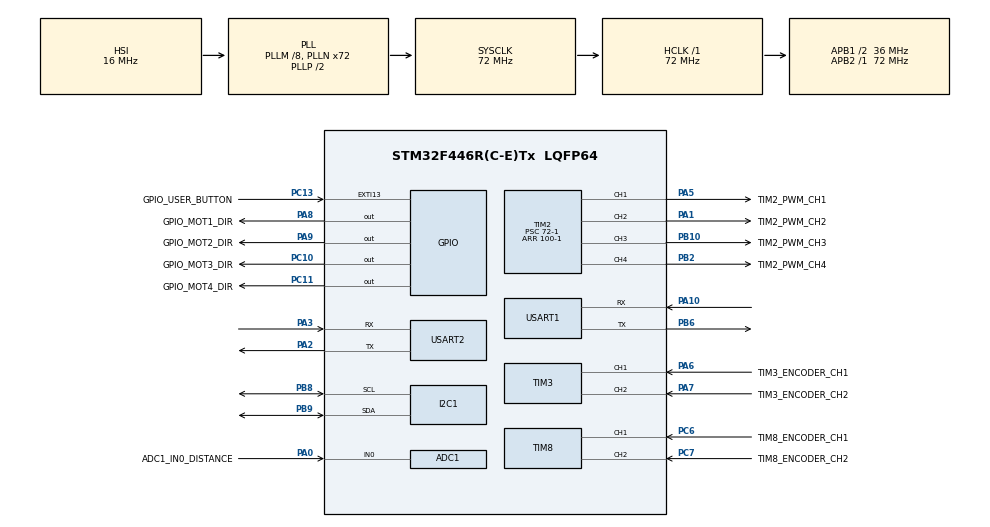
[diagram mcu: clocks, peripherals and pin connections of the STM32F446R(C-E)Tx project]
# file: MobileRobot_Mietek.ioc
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ADC1.Channel-0\#ChannelRegularConversion=ADC_CHANNEL_0
ADC1.NbrOfConversionFlag=1
ADC1.Rank-0\#ChannelRegularConversion=1
ADC1.SamplingTime-0\#ChannelRegularConversion=ADC_SAMPLETIME_3CYCLES
ADC1.master=1
Dma.Request0=USART2_RX
Dma.Request1=USART1_RX
Dma.USART1_RX.1.Direction=DMA_PERIPH_TO_MEMORY
Dma.USART1_RX.1.FIFOMode=DMA_FIFOMODE_DISABLE
Dma.USART1_RX.1.Instance=DMA2_Stream2
Dma.USART1_RX.1.MemDataAlignment=DMA_MDATAALIGN_BYTE
Dma.USART1_RX.1.MemInc=DMA_MINC_ENABLE
Dma.USART1_RX.1.Mode=DMA_NORMAL
Dma.USART1_RX.1.PeriphDataAlignment=DMA_PDATAALIGN_BYTE
Dma.USART1_RX.1.PeriphInc=DMA_PINC_DISABLE
Dma.USART1_RX.1.Priority=DMA_PRIORITY_LOW
Dma.USART2_RX.0.Direction=DMA_PERIPH_TO_MEMORY
Dma.USART2_RX.0.FIFOMode=DMA_FIFOMODE_DISABLE
Dma.USART2_RX.0.Instance=DMA1_Stream5
Dma.USART2_RX.0.MemDataAlignment=DMA_MDATAALIGN_BYTE
Dma.USART2_RX.0.MemInc=DMA_MINC_ENABLE
Dma.USART2_RX.0.Mode=DMA_NORMAL
Dma.USART2_RX.0.PeriphDataAlignment=DMA_PDATAALIGN_BYTE
Dma.USART2_RX.0.PeriphInc=DMA_PINC_DISABLE
Dma.USART2_RX.0.Priority=DMA_PRIORITY_LOW
FREERTOS.Tasks01=defaultTask,0,128,StartDefaultTask,Default,NULL,Dynamic,NULL,NULL
FREERTOS.configUSE_NEWLIB_REENTRANT=1
Mcu.Family=STM32F4
Mcu.Name=STM32F446R(C-E)Tx
Mcu.Package=LQFP64
NVIC.DMA1_Stream5_IRQn=true\:5\:0\:false\:false\:true\:true\:false\:true
NVIC.DMA2_Stream2_IRQn=true\:5\:0\:false\:false\:true\:true\:false\:true
NVIC.EXTI15_10_IRQn=true\:5\:0\:false\:false\:true\:true\:true\:true
NVIC.PriorityGroup=NVIC_PRIORITYGROUP_4
NVIC.TIM1_UP_TIM10_IRQn=true\:5\:0\:false\:false\:true\:false\:false\:true
NVIC.TimeBase=TIM1_UP_TIM10_IRQn
NVIC.TimeBaseIP=TIM1
NVIC.USART1_IRQn=true\:5\:0\:false\:false\:true\:true\:true\:true
NVIC.USART2_IRQn=true\:5\:0\:false\:false\:true\:true\:true\:true
PA0-WKUP.GPIO_Label=ADC1_IN0_DISTANCE
PA0-WKUP.Signal=ADCx_IN0
PA1.GPIO_Label=TIM2_PWM_CH2
PA1.Signal=S_TIM2_CH2
PA10.Mode=Asynchronous
PA10.Signal=USART1_RX
PA2.Mode=Asynchronous
PA2.Signal=USART2_TX
PA3.Mode=Asynchronous
PA3.Signal=USART2_RX
PA5.GPIO_Label=TIM2_PWM_CH1
PA5.Signal=S_TIM2_CH1_ETR
PA6.GPIO_Label=TIM3_ENCODER_CH1
PA6.Signal=S_TIM3_CH1
PA7.GPIO_Label=TIM3_ENCODER_CH2
PA7.Signal=S_TIM3_CH2
PA8.GPIO_Label=GPIO_MOT1_DIR
PA8.GPIO_ModeDefaultOutputPP=GPIO_MODE_OUTPUT_PP
PA8.GPIO_PuPd=GPIO_NOPULL
PA8.Signal=GPIO_Output
PA9.GPIO_Label=GPIO_MOT2_DIR
PA9.Signal=GPIO_Output
PB10.GPIO_Label=TIM2_PWM_CH3
PB10.Signal=S_TIM2_CH3
PB2.GPIO_Label=TIM2_PWM_CH4
PB2.Signal=S_TIM2_CH4
PB6.Mode=Asynchronous
PB6.Signal=USART1_TX
PB8.Mode=I2C
PB8.Signal=I2C1_SCL
PB9.Mode=I2C
PB9.Signal=I2C1_SDA
PC10.GPIO_Label=GPIO_MOT3_DIR
PC10.Signal=GPIO_Output
PC11.GPIO_Label=GPIO_MOT4_DIR
PC11.Signal=GPIO_Output
PC13.GPIO_Label=GPIO_USER_BUTTON
PC13.Signal=GPXTI13
PC14-OSC32_IN.Mode=LSE-External-Oscillator
PC14-OSC32_IN.Signal=RCC_OSC32_IN
PC15-OSC32_OUT.Mode=LSE-External-Oscillator
PC15-OSC32_OUT.Signal=RCC_OSC32_OUT
PC6.GPIO_Label=TIM8_ENCODER_CH1
PC6.Signal=S_TIM8_CH1
PC7.GPIO_Label=TIM8_ENCODER_CH2
PC7.Signal=S_TIM8_CH2
PH0-OSC_IN.Mode=HSE-External-Oscillator
PH0-OSC_IN.Signal=RCC_OSC_IN
PH1-OSC_OUT.Mode=HSE-External-Oscillator
PH1-OSC_OUT.Signal=RCC_OSC_OUT
ProjectManager.HeapSize=0x200
ProjectManager.StackSize=0x400
ProjectManager.TargetToolchain=STM32CubeIDE
RCC.AHBFreq_Value=72000000
RCC.APB1CLKDivider=RCC_HCLK_DIV2
RCC.APB1Freq_Value=36000000
RCC.APB1TimFreq_Value=72000000
RCC.APB2Freq_Value=72000000
RCC.APB2TimFreq_Value=72000000
RCC.CortexFreq_Value=72000000
RCC.HCLKFreq_Value=72000000
RCC.PLLM=8
RCC.PLLN=72
RCC.SYSCLKFreq_VALUE=72000000
RCC.SYSCLKSource=RCC_SYSCLKSOURCE_PLLCLK
RCC.USBFreq_Value=72000000
RCC.VCOOutputFreq_Value=144000000
SH.ADCx_IN0.0=ADC1_IN0,IN0
SH.S_TIM2_CH1_ETR.0=TIM2_CH1,PWM Generation1 CH1
SH.S_TIM2_CH2.0=TIM2_CH2,PWM Generation2 CH2
SH.S_TIM2_CH3.0=TIM2_CH3,PWM Generation3 CH3
SH.S_TIM2_CH4.0=TIM2_CH4,PWM Generation4 CH4
SH.S_TIM3_CH1.0=TIM3_CH1,Encoder_Interface
SH.S_TIM3_CH2.0=TIM3_CH2,Encoder_Interface
SH.S_TIM8_CH1.0=TIM8_CH1,Encoder_Interface
SH.S_TIM8_CH2.0=TIM8_CH2,Encoder_Interface
TIM10.Period=1000-1
TIM10.Prescaler=7200-1
TIM2.Channel-PWM\ Generation1\ CH1=TIM_CHANNEL_1
TIM2.Channel-PWM\ Generation2\ CH2=TIM_CHANNEL_2
TIM2.Channel-PWM\ Generation3\ CH3=TIM_CHANNEL_3
TIM2.Channel-PWM\ Generation4\ CH4=TIM_CHANNEL_4
TIM2.Period=100-1
TIM2.Prescaler=72-1
TIM3.EncoderMode=TIM_ENCODERMODE_TI12
TIM3.IC1Filter=15
TIM3.IC2Filter=15
TIM8.EncoderMode=TIM_ENCODERMODE_TI12
TIM8.IC1Filter=15
TIM8.IC2Filter=15
USART1.VirtualMode=VM_ASYNC
USART2.VirtualMode=VM_ASYNC
VP_FREERTOS_VS_CMSIS_V1.Mode=CMSIS_V1
VP_SYS_VS_tim1.Mode=TIM1
VP_TIM10_VS_ClockSourceINT.Mode=Enable_Timer
VP_TIM2_VS_ClockSourceINT.Mode=Internal
board=custom

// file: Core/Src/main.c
/* USER CODE BEGIN Header */
/**
  ******************************************************************************
  * @file           : main.c
  * @brief          : Main program body
  ******************************************************************************
  * @attention
  *
  * Copyright (c) 2023 STMicroelectronics.
  * All rights reserved.
  *
  * This software is licensed under terms that can be found in the LICENSE file
  * in the root directory of this software component.
  * If no LICENSE file comes with this software, it is provided AS-IS.
  *
  ******************************************************************************
  */
/* USER CODE END Header */
#include "main.h"
#include "cmsis_os.h"

/* USER CODE BEGIN Includes */
#include "task_workers.h"
#include "uart_dma.h"
/* USER CODE END Includes */

/* USER CODE BEGIN PM */
UARTDMA_HandleTypeDef huartdma;
/* USER CODE END PM */

ADC_HandleTypeDef hadc1;

I2C_HandleTypeDef hi2c1;

TIM_HandleTypeDef htim2;
TIM_HandleTypeDef htim3;
TIM_HandleTypeDef htim8;
TIM_HandleTypeDef htim10;

UART_HandleTypeDef huart1;
UART_HandleTypeDef huart2;
DMA_HandleTypeDef hdma_usart1_rx;
DMA_HandleTypeDef hdma_usart2_rx;

osThreadId defaultTaskHandle;

void SystemClock_Config(void);
static void MX_GPIO_Init(void);
static void MX_I2C1_Init(void);
static void MX_USART2_UART_Init(void);
static void MX_TIM2_Init(void);
static void MX_ADC1_Init(void);
static void MX_TIM3_Init(void);
static void MX_TIM10_Init(void);
static void MX_DMA_Init(void);
static void MX_TIM8_Init(void);
static void MX_USART1_UART_Init(void);
void StartDefaultTask(void const * argument);

int main(void)
{

  /* MCU Configuration--------------------------------------------------------*/

  /* Reset of all peripherals, Initializes the Flash interface and the Systick. */
  HAL_Init();

  /* Configure the system clock */
  SystemClock_Config();

  /* Initialize all configured peripherals */
  MX_GPIO_Init();
  MX_I2C1_Init();
  MX_USART2_UART_Init();
  MX_TIM2_Init();
  MX_ADC1_Init();
  MX_TIM3_Init();
  MX_TIM10_Init();
  MX_DMA_Init();
  MX_TIM8_Init();
  MX_USART1_UART_Init();
  /* USER CODE BEGIN 2 */
  HAL_TIM_Base_Start_IT(&htim10);

  /* USER CODE END 2 */

  /* USER CODE BEGIN RTOS_TIMERS */
  /* start timers, add new ones, ... */
  /*

	*/
  /* USER CODE END RTOS_TIMERS */

  /* Create the thread(s) */
  /* definition and creation of defaultTask */
  osThreadDef(defaultTask, StartDefaultTask, osPriorityNormal, 0, 128);
  defaultTaskHandle = osThreadCreate(osThread(defaultTask), NULL);

  /* USER CODE BEGIN RTOS_THREADS */
  /* add threads, ... */

  TasksWorkers_Init();

  /* USER CODE END RTOS_THREADS */

  /* Start scheduler */
  osKernelStart();

  /* We should never get here as control is now taken by the scheduler */
  /* Infinite loop */
  while (1)
  {

  }
}

void SystemClock_Config(void)
{
  RCC_OscInitTypeDef RCC_OscInitStruct = {0};
  RCC_ClkInitTypeDef RCC_ClkInitStruct = {0};

  /** Configure the main internal regulator output voltage
  */
  __HAL_RCC_PWR_CLK_ENABLE();
  __HAL_PWR_VOLTAGESCALING_CONFIG(PWR_REGULATOR_VOLTAGE_SCALE3);
  /** Initializes the RCC Oscillators according to the specified parameters
  * in the RCC_OscInitTypeDef structure.
  */
  RCC_OscInitStruct.OscillatorType = RCC_OSCILLATORTYPE_HSI;
  RCC_OscInitStruct.HSIState = RCC_HSI_ON;
  RCC_OscInitStruct.HSICalibrationValue = RCC_HSICALIBRATION_DEFAULT;
  RCC_OscInitStruct.PLL.PLLState = RCC_PLL_ON;
  RCC_OscInitStruct.PLL.PLLSource = RCC_PLLSOURCE_HSI;
  RCC_OscInitStruct.PLL.PLLM = 8;
  RCC_OscInitStruct.PLL.PLLN = 72;
  RCC_OscInitStruct.PLL.PLLP = RCC_PLLP_DIV2;
  RCC_OscInitStruct.PLL.PLLQ = 2;
  RCC_OscInitStruct.PLL.PLLR = 2;
  if (HAL_RCC_OscConfig(&RCC_OscInitStruct) != HAL_OK)
  {
    Error_Handler();
  }
  /** Initializes the CPU, AHB and APB buses clocks
  */
  RCC_ClkInitStruct.ClockType = RCC_CLOCKTYPE_HCLK|RCC_CLOCKTYPE_SYSCLK
                              |RCC_CLOCKTYPE_PCLK1|RCC_CLOCKTYPE_PCLK2;
  RCC_ClkInitStruct.SYSCLKSource = RCC_SYSCLKSOURCE_PLLCLK;
  RCC_ClkInitStruct.AHBCLKDivider = RCC_SYSCLK_DIV1;
  RCC_ClkInitStruct.APB1CLKDivider = RCC_HCLK_DIV2;
  RCC_ClkInitStruct.APB2CLKDivider = RCC_HCLK_DIV1;

  if (HAL_RCC_ClockConfig(&RCC_ClkInitStruct, FLASH_LATENCY_2) != HAL_OK)
  {
    Error_Handler();
  }
}

static void MX_ADC1_Init(void)
{

  ADC_ChannelConfTypeDef sConfig = {0};

  /** Configure the global features of the ADC (Clock, Resolution, Data Alignment and number of conversion)
  */
  hadc1.Instance = ADC1;
  hadc1.Init.ClockPrescaler = ADC_CLOCK_SYNC_PCLK_DIV2;
  hadc1.Init.Resolution = ADC_RESOLUTION_12B;
  hadc1.Init.ScanConvMode = DISABLE;
  hadc1.Init.ContinuousConvMode = DISABLE;
  hadc1.Init.DiscontinuousConvMode = DISABLE;
  hadc1.Init.ExternalTrigConvEdge = ADC_EXTERNALTRIGCONVEDGE_NONE;
  hadc1.Init.ExternalTrigConv = ADC_SOFTWARE_START;
  hadc1.Init.DataAlign = ADC_DATAALIGN_RIGHT;
  hadc1.Init.NbrOfConversion = 1;
  hadc1.Init.DMAContinuousRequests = DISABLE;
  hadc1.Init.EOCSelection = ADC_EOC_SINGLE_CONV;
  if (HAL_ADC_Init(&hadc1) != HAL_OK)
  {
    Error_Handler();
  }
  /** Configure for the selected ADC regular channel its corresponding rank in the sequencer and its sample time.
  */
  sConfig.Channel = ADC_CHANNEL_0;
  sConfig.Rank = 1;
  sConfig.SamplingTime = ADC_SAMPLETIME_3CYCLES;
  if (HAL_ADC_ConfigChannel(&hadc1, &sConfig) != HAL_OK)
  {
    Error_Handler();
  }

}

static void MX_I2C1_Init(void)
{

  hi2c1.Instance = I2C1;
  hi2c1.Init.ClockSpeed = 100000;
  hi2c1.Init.DutyCycle = I2C_DUTYCYCLE_2;
  hi2c1.Init.OwnAddress1 = 0;
  hi2c1.Init.AddressingMode = I2C_ADDRESSINGMODE_7BIT;
  hi2c1.Init.DualAddressMode = I2C_DUALADDRESS_DISABLE;
  hi2c1.Init.OwnAddress2 = 0;
  hi2c1.Init.GeneralCallMode = I2C_GENERALCALL_DISABLE;
  hi2c1.Init.NoStretchMode = I2C_NOSTRETCH_DISABLE;
  if (HAL_I2C_Init(&hi2c1) != HAL_OK)
  {
    Error_Handler();
  }

}

static void MX_TIM2_Init(void)
{

  TIM_ClockConfigTypeDef sClockSourceConfig = {0};
  TIM_MasterConfigTypeDef sMasterConfig = {0};
  TIM_OC_InitTypeDef sConfigOC = {0};

  htim2.Instance = TIM2;
  htim2.Init.Prescaler = 72-1;
  htim2.Init.CounterMode = TIM_COUNTERMODE_UP;
  htim2.Init.Period = 100-1;
  htim2.Init.ClockDivision = TIM_CLOCKDIVISION_DIV1;
  htim2.Init.AutoReloadPreload = TIM_AUTORELOAD_PRELOAD_DISABLE;
  if (HAL_TIM_Base_Init(&htim2) != HAL_OK)
  {
    Error_Handler();
  }
  sClockSourceConfig.ClockSource = TIM_CLOCKSOURCE_INTERNAL;
  if (HAL_TIM_ConfigClockSource(&htim2, &sClockSourceConfig) != HAL_OK)
  {
    Error_Handler();
  }
  if (HAL_TIM_PWM_Init(&htim2) != HAL_OK)
  {
    Error_Handler();
  }
  sMasterConfig.MasterOutputTrigger = TIM_TRGO_RESET;
  sMasterConfig.MasterSlaveMode = TIM_MASTERSLAVEMODE_DISABLE;
  if (HAL_TIMEx_MasterConfigSynchronization(&htim2, &sMasterConfig) != HAL_OK)
  {
    Error_Handler();
  }
  sConfigOC.OCMode = TIM_OCMODE_PWM1;
  sConfigOC.Pulse = 0;
  sConfigOC.OCPolarity = TIM_OCPOLARITY_HIGH;
  sConfigOC.OCFastMode = TIM_OCFAST_DISABLE;
  if (HAL_TIM_PWM_ConfigChannel(&htim2, &sConfigOC, TIM_CHANNEL_1) != HAL_OK)
  {
    Error_Handler();
  }
  if (HAL_TIM_PWM_ConfigChannel(&htim2, &sConfigOC, TIM_CHANNEL_2) != HAL_OK)
  {
    Error_Handler();
  }
  if (HAL_TIM_PWM_ConfigChannel(&htim2, &sConfigOC, TIM_CHANNEL_3) != HAL_OK)
  {
    Error_Handler();
  }
  if (HAL_TIM_PWM_ConfigChannel(&htim2, &sConfigOC, TIM_CHANNEL_4) != HAL_OK)
  {
    Error_Handler();
  }
  HAL_TIM_MspPostInit(&htim2);

}

static void MX_TIM3_Init(void)
{

  TIM_Encoder_InitTypeDef sConfig = {0};
  TIM_MasterConfigTypeDef sMasterConfig = {0};

  htim3.Instance = TIM3;
  htim3.Init.Prescaler = 0;
  htim3.Init.CounterMode = TIM_COUNTERMODE_UP;
  htim3.Init.Period = 65535;
  htim3.Init.ClockDivision = TIM_CLOCKDIVISION_DIV1;
  htim3.Init.AutoReloadPreload = TIM_AUTORELOAD_PRELOAD_DISABLE;
  sConfig.EncoderMode = TIM_ENCODERMODE_TI12;
  sConfig.IC1Polarity = TIM_ICPOLARITY_RISING;
  sConfig.IC1Selection = TIM_ICSELECTION_DIRECTTI;
  sConfig.IC1Prescaler = TIM_ICPSC_DIV1;
  sConfig.IC1Filter = 15;
  sConfig.IC2Polarity = TIM_ICPOLARITY_RISING;
  sConfig.IC2Selection = TIM_ICSELECTION_DIRECTTI;
  sConfig.IC2Prescaler = TIM_ICPSC_DIV1;
  sConfig.IC2Filter = 15;
  if (HAL_TIM_Encoder_Init(&htim3, &sConfig) != HAL_OK)
  {
    Error_Handler();
  }
  sMasterConfig.MasterOutputTrigger = TIM_TRGO_RESET;
  sMasterConfig.MasterSlaveMode = TIM_MASTERSLAVEMODE_DISABLE;
  if (HAL_TIMEx_MasterConfigSynchronization(&htim3, &sMasterConfig) != HAL_OK)
  {
    Error_Handler();
  }

}

static void MX_TIM8_Init(void)
{

  TIM_Encoder_InitTypeDef sConfig = {0};
  TIM_MasterConfigTypeDef sMasterConfig = {0};

  htim8.Instance = TIM8;
  htim8.Init.Prescaler = 0;
  htim8.Init.CounterMode = TIM_COUNTERMODE_UP;
  htim8.Init.Period = 65535;
  htim8.Init.ClockDivision = TIM_CLOCKDIVISION_DIV1;
  htim8.Init.RepetitionCounter = 0;
  htim8.Init.AutoReloadPreload = TIM_AUTORELOAD_PRELOAD_DISABLE;
  sConfig.EncoderMode = TIM_ENCODERMODE_TI12;
  sConfig.IC1Polarity = TIM_ICPOLARITY_RISING;
  sConfig.IC1Selection = TIM_ICSELECTION_DIRECTTI;
  sConfig.IC1Prescaler = TIM_ICPSC_DIV1;
  sConfig.IC1Filter = 15;
  sConfig.IC2Polarity = TIM_ICPOLARITY_RISING;
  sConfig.IC2Selection = TIM_ICSELECTION_DIRECTTI;
  sConfig.IC2Prescaler = TIM_ICPSC_DIV1;
  sConfig.IC2Filter = 15;
  if (HAL_TIM_Encoder_Init(&htim8, &sConfig) != HAL_OK)
  {
    Error_Handler();
  }
  sMasterConfig.MasterOutputTrigger = TIM_TRGO_RESET;
  sMasterConfig.MasterSlaveMode = TIM_MASTERSLAVEMODE_DISABLE;
  if (HAL_TIMEx_MasterConfigSynchronization(&htim8, &sMasterConfig) != HAL_OK)
  {
    Error_Handler();
  }

}

static void MX_TIM10_Init(void)
{

  htim10.Instance = TIM10;
  htim10.Init.Prescaler = 7200-1;
  htim10.Init.CounterMode = TIM_COUNTERMODE_UP;
  htim10.Init.Period = 1000-1;
  htim10.Init.ClockDivision = TIM_CLOCKDIVISION_DIV1;
  htim10.Init.AutoReloadPreload = TIM_AUTORELOAD_PRELOAD_DISABLE;
  if (HAL_TIM_Base_Init(&htim10) != HAL_OK)
  {
    Error_Handler();
  }

}

static void MX_USART1_UART_Init(void)
{

  huart1.Instance = USART1;
  huart1.Init.BaudRate = 115200;
  huart1.Init.WordLength = UART_WORDLENGTH_8B;
  huart1.Init.StopBits = UART_STOPBITS_1;
  huart1.Init.Parity = UART_PARITY_NONE;
  huart1.Init.Mode = UART_MODE_TX_RX;
  huart1.Init.HwFlowCtl = UART_HWCONTROL_NONE;
  huart1.Init.OverSampling = UART_OVERSAMPLING_16;
  if (HAL_UART_Init(&huart1) != HAL_OK)
  {
    Error_Handler();
  }

}

static void MX_USART2_UART_Init(void)
{

  huart2.Instance = USART2;
  huart2.Init.BaudRate = 115200;
  huart2.Init.WordLength = UART_WORDLENGTH_8B;
  huart2.Init.StopBits = UART_STOPBITS_1;
  huart2.Init.Parity = UART_PARITY_NONE;
  huart2.Init.Mode = UART_MODE_TX_RX;
  huart2.Init.HwFlowCtl = UART_HWCONTROL_NONE;
  huart2.Init.OverSampling = UART_OVERSAMPLING_16;
  if (HAL_UART_Init(&huart2) != HAL_OK)
  {
    Error_Handler();
  }

}

static void MX_DMA_Init(void)
{

  /* DMA controller clock enable */
  __HAL_RCC_DMA1_CLK_ENABLE();
  __HAL_RCC_DMA2_CLK_ENABLE();

  /* DMA interrupt init */
  /* DMA1_Stream5_IRQn interrupt configuration */
  HAL_NVIC_SetPriority(DMA1_Stream5_IRQn, 5, 0);
  HAL_NVIC_EnableIRQ(DMA1_Stream5_IRQn);
  /* DMA2_Stream2_IRQn interrupt configuration */
  HAL_NVIC_SetPriority(DMA2_Stream2_IRQn, 5, 0);
  HAL_NVIC_EnableIRQ(DMA2_Stream2_IRQn);

}

static void MX_GPIO_Init(void)
{
  GPIO_InitTypeDef GPIO_InitStruct = {0};

  /* GPIO Ports Clock Enable */
  __HAL_RCC_GPIOC_CLK_ENABLE();
  __HAL_RCC_GPIOH_CLK_ENABLE();
  __HAL_RCC_GPIOA_CLK_ENABLE();
  __HAL_RCC_GPIOB_CLK_ENABLE();

  /*Configure GPIO pin Output Level */
  HAL_GPIO_WritePin(GPIOA, GPIO_MOT1_DIR_Pin|GPIO_MOT2_DIR_Pin, GPIO_PIN_RESET);

  /*Configure GPIO pin Output Level */
  HAL_GPIO_WritePin(GPIOC, GPIO_MOT3_DIR_Pin|GPIO_MOT4_DIR_Pin, GPIO_PIN_RESET);

  /*Configure GPIO pin : GPIO_USER_BUTTON_Pin */
  GPIO_InitStruct.Pin = GPIO_USER_BUTTON_Pin;
  GPIO_InitStruct.Mode = GPIO_MODE_IT_RISING;
  GPIO_InitStruct.Pull = GPIO_NOPULL;
  HAL_GPIO_Init(GPIO_USER_BUTTON_GPIO_Port, &GPIO_InitStruct);

  /*Configure GPIO pins : GPIO_MOT1_DIR_Pin GPIO_MOT2_DIR_Pin */
  GPIO_InitStruct.Pin = GPIO_MOT1_DIR_Pin|GPIO_MOT2_DIR_Pin;
  GPIO_InitStruct.Mode = GPIO_MODE_OUTPUT_PP;
  GPIO_InitStruct.Pull = GPIO_NOPULL;
  GPIO_InitStruct.Speed = GPIO_SPEED_FREQ_LOW;
  HAL_GPIO_Init(GPIOA, &GPIO_InitStruct);

  /*Configure GPIO pins : GPIO_MOT3_DIR_Pin GPIO_MOT4_DIR_Pin */
  GPIO_InitStruct.Pin = GPIO_MOT3_DIR_Pin|GPIO_MOT4_DIR_Pin;
  GPIO_InitStruct.Mode = GPIO_MODE_OUTPUT_PP;
  GPIO_InitStruct.Pull = GPIO_NOPULL;
  GPIO_InitStruct.Speed = GPIO_SPEED_FREQ_LOW;
  HAL_GPIO_Init(GPIOC, &GPIO_InitStruct);

  /* EXTI interrupt init*/
  HAL_NVIC_SetPriority(EXTI15_10_IRQn, 5, 0);
  HAL_NVIC_EnableIRQ(EXTI15_10_IRQn);

}

/* USER CODE BEGIN 4 */

#ifdef configUSE_TIMERS && configSUPPORT_STATIC_ALLOCATION
void vApplicationGetTimerTaskMemory( StaticTask_t **ppxTimerTaskTCBBuffer, StackType_t **ppxTimerTaskStackBuffer, uint32_t *pulTimerTaskStackSize)
{
	static StaticTask_t xTimerTaskTCB;
	static StackType_t uxTimerTaskStack[configTIMER_TASK_STACK_DEPTH];

	*ppxTimerTaskTCBBuffer = &xTimerTaskTCB;
	*ppxTimerTaskStackBuffer = uxTimerTaskStack;

	*pulTimerTaskStackSize = configTIMER_TASK_STACK_DEPTH;
}
#endif

void HAL_UART_RxCpltCallback(UART_HandleTypeDef *huart)
{
	//Comm_Uart_Receive_Irq();
}

// EXTI Line13 External Interrupt ISR Handler CallBackFun
void HAL_GPIO_EXTI_Callback(uint16_t GPIO_Pin){

    if(GPIO_Pin == GPIO_USER_BUTTON_Pin) // If The INT Source Is EXTI Line9 (A9 Pin)
    {
        Robot_Application1();
    }
}
/* USER CODE END 4 */

void StartDefaultTask(void const * argument)
{
  for(;;)
  {
    osDelay(1);
  }
}

void HAL_TIM_PeriodElapsedCallback(TIM_HandleTypeDef *htim)
{
  if (htim->Instance == TIM1) {
    HAL_IncTick();
  }
  /* USER CODE BEGIN Callback 1 */
  if (htim->Instance == TIM10) {
      // if (Robot_Status(&robot) != ROB_OFF){

    	//TickType_t current_tick = HAL_GetTick();
    	//Robot_UpdateMotionStatus(&robot);
    	//__HAL_TIM_CLEAR_IT(htim, TIM_IT_UPDATE);

      // }
  }

  /* USER CODE END Callback 1 */
}

void Error_Handler(void)
{
  __disable_irq();
  while (1)
  {
  }
}
